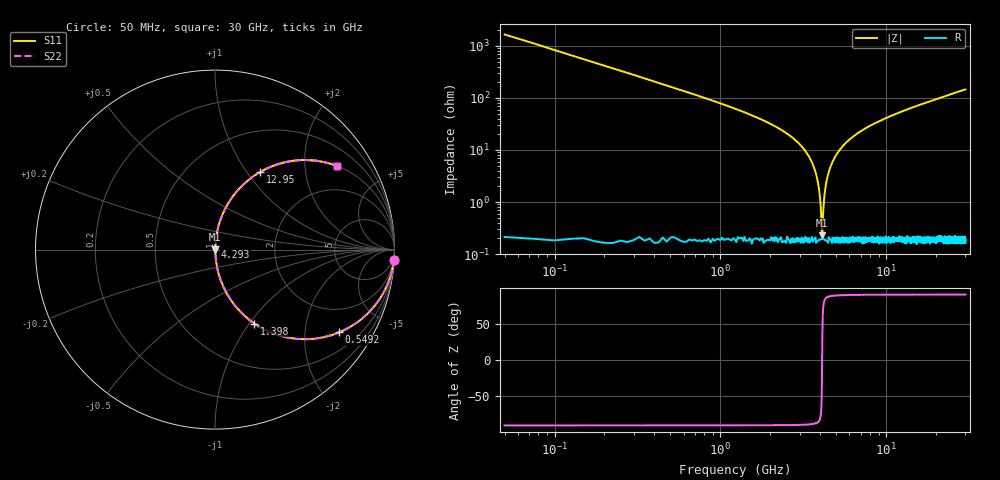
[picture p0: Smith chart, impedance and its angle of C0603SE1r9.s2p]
!	AVX Thin Film Operation 	Date: April 2014
!	Description: Accu-P® Series, Thin Film  SMD RF Capacitor
!	Part Number: 06031J1R9PBSTR
# MHZ S MA R 50
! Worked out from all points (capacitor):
!   1201 points, 50 MHz to 30 GHz, reference 50 ohm
!   read as one part in series: C = 1.9 pF near 199.8 MHz
!   lowest |Z| = 229 mohm at 4.093 GHz (marker M1)
!   series resonance near 4.105 GHz, so ESL is about 790 pH
!   S11 on the Smith chart (normalised r, x): 50 MHz: 1, -33; 549.2 MHz: 1.00, -3.00; 1.398 GHz: 1.00, -1.06; 4.293 GHz: 1.00, +0.04; 12.95 GHz: 1.00, +1.16; 30 GHz: 1.00, +2.93
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50  0.998 -3.4  0.06 86.6  0.06 86.6  0.998 -3.4
299.583  0.941 -19.8  0.338 70.2  0.338 70.2  0.941 -19.8
549.167  0.831 -33.7  0.555 56.2  0.555 56.2  0.831 -33.7
1397.75  0.467 -61.9  0.882 27.9  0.882 27.9  0.467 -61.9
2695.583  0.174 -79.4  0.983 10.0  0.983 10.0  0.174 -79.4
3394.417  0.078 -84.2  0.995 4.5  0.995 4.5  0.078 -84.2
3768.792  0.035 -84.9  0.998 2.0  0.998 2.0  0.035 -84.9
3893.583  0.022 -83.8  0.998 1.2  0.998 1.2  0.022 -83.8
3993.417  0.011 -79.9  0.998 0.6  0.998 0.6  0.011 -79.9
4093.25  0.002231 -32.7  0.998 0.1  0.998 0.1  0.002231 -32.7
4193.083  0.008811 77.2  0.998 -0.5  0.998 -0.5  0.008811 77.2
4292.917  0.018 83.1  0.998 -1.0  0.998 -1.0  0.018 83.1
4392.75  0.028 84.5  0.998 -1.6  0.998 -1.6  0.028 84.5
4542.5  0.041 85.0  0.997 -2.4  0.997 -2.4  0.041 85.0
5041.667  0.084 83.9  0.995 -4.8  0.995 -4.8  0.084 83.9
6763.792  0.207 77.5  0.976 -12.0  0.976 -12.0  0.207 77.5
10058.29  0.384 67.2  0.922 -22.6  0.922 -22.6  0.384 67.2
12953.46  0.5 59.8  0.864 -30.0  0.864 -30.0  0.5 59.8
15025  0.568 55.2  0.822 -34.6  0.822 -34.6  0.568 55.2
20016.67  0.689 46.3  0.723 -43.6  0.723 -43.6  0.689 46.3
25033.29  0.77 39.5  0.636 -50.4  0.636 -50.4  0.77 39.5
30000  0.825 34.3  0.564 -55.6  0.564 -55.6  0.825 34.3
